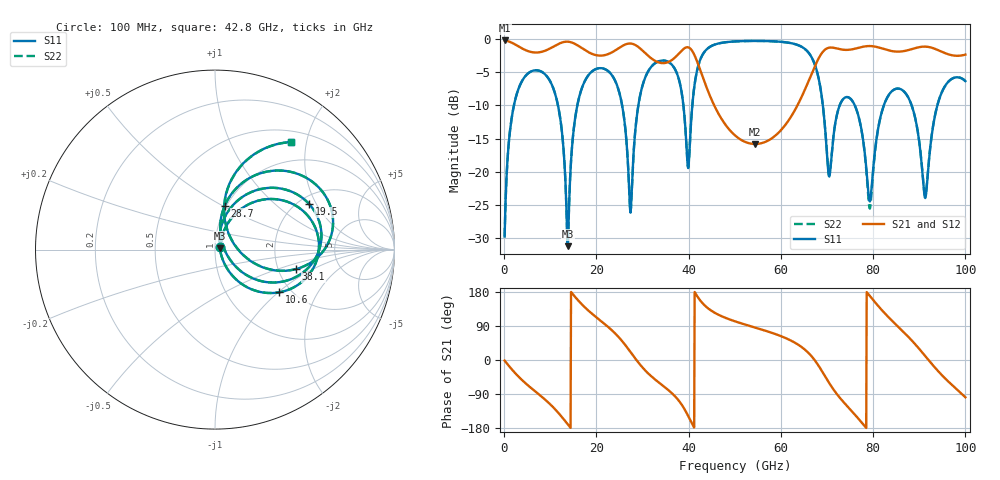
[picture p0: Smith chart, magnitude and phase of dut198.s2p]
! Touchstone file exported from HFSS 2026.1.0
!  File:  C:/ffzhzh/LocalFiles/Ansys_Project_Files/temp_train_TSV_RDL_198_1783657863_29156.aedt
!  Generated:  12:42:32 PM Jul 10, 2026
!  Design:  TSV_RDL
!  Project:  temp_train_TSV_RDL_198_1783657863_29156
! Variables:
!  h_bsmrdl = 2.86um
!  h_ox = 20um
!  h_rdl = 5um
!  h_sub = 87.6um
!  h_tmrdl = 3.07um
!  h_tsv = 87.6um
!  h_via = 3um
!  l_bsmrdl = 172.77um
!  l_sub = 3809.41um
!  l_tmrdl = 695.97um
!  m_sub = 200um
!  pitch = 52.04um
!  r_tsv = 12.74um
!  s_tmrdl = 10um
!  w_bsmrdl = 22.68um
!  w_sub = 500um
!  w_tmrdl = 13.06um
!  x_tsv_center1 = 702.5um
!  x_tsv_center2 = 897.95um
!  x_tsv_center3 = 1606.98um
!  x_tsv_center4 = 1802.43um
!  x_tsv_center5 = 2511.46um
!  x_tsv_center6 = 2706.91um
# GHz S MA R 50.000000
! Terminal data exported
! Port[1] = TM_RDL1_1_T1
! Port[2] = TM_RDL5_1_T1
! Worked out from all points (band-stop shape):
!   1000 points, 100 MHz to 100 GHz, reference 50 ohm
!   highest |S21| = -0.25 dB at 100 MHz (marker M1); lowest = -15.8 dB at 54.4 GHz (marker M2)
!   |S21| within 3 dB of the highest: start of sweep to 32.56 GHz; 67.95 GHz to end of sweep (the widest 2 of 3)
!   lowest |S11| = -31.2 dB at 13.8 GHz (marker M3), VSWR 1.06, Z = 52.7 + j0.787 ohm
!   |S11| at or under -10 dB: 11.67 GHz to 15.87 GHz (4.2 GHz wide, 30.5 % of centre); 76.02 GHz to 82.32 GHz (6.298 GHz wide, 7.95 % of centre); 88.34 GHz to 93.93 GHz (5.583 GHz wide, 6.13 % of centre) (the widest 3 of 7)
!   |S22| runs from -31.1 to -0.3 dB; largest |S21 - S12| = 5.1e-14
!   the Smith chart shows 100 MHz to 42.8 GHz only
!   S11 on the Smith chart (normalised r, x): 100 MHz: 1.06, +0.03; 10.6 GHz: 1.74, -1.01; 19.5 GHz: 2.29, +1.75; 28.7 GHz: 0.98, +0.51; 38.1 GHz: 2.50, -0.69; 42.8 GHz: 0.67, +1.74
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0.1  0.0326 30.3  0.9722 -1.6  0.9722 -1.6  0.0326 30.3
! Gamma 0 0 0 0
! Port Impedance 50 0 50 0
3.2  0.4287 41.1  0.8735 -44.9  0.8735 -44.9  0.4287 41.1
10.6  0.4297 -33.7  0.8706 -124.3  0.8706 -124.3  0.4297 -33.6
13.8  0.0276 15.7  0.9516 -169.8  0.9516 -169.8  0.02787 15.7
16.8  0.4208 53.2  0.8535 147.4  0.8535 147.4  0.4209 53.2
19.5  0.5835 25.6  0.7607 117.5  0.7607 117.5  0.5835 25.6
24.8  0.4134 -25.7  0.8489 60.8  0.8489 60.8  0.4134 -25.6
27.3  0.05226 1.6  0.9221 22.7  0.9221 22.7  0.05261 1.8
28.7  0.2508 77.5  0.8878 -0.4  0.8878 -0.4  0.251 77.4
33.4  0.6758 30.2  0.6663 -58.1  0.6663 -58.1  0.6758 30.2
38.1  0.4632 -13.6  0.7891 -111.0  0.7891 -111.0  0.4633 -13.5
39.9  0.1067 30.3  0.8634 -147.7  0.8634 -147.7  0.1079 30.4
42.8  0.7348 54.7  0.5465 152.8  0.5465 152.8  0.735 54.6
50.1  0.9562 9.8  0.1873 101.8  0.1873 101.8  0.9563 9.7
54.4  0.9643 -4.8  0.1619 85.6  0.1619 85.6  0.9643 -4.9
66.7  0.7221 -72.6  0.5501 9.2  0.5501 9.2  0.7224 -72.7
70.4  0.09307 -62.0  0.857 -59.4  0.857 -59.4  0.09502 -62.2
72.6  0.3061 -14.5  0.8384 -97.0  0.8384 -97.0  0.3062 -15.2
79.3  0.05989 -8.8  0.8827 168.8  0.8827 168.8  0.05294 -8.4
83.4  0.3792 17.2  0.8178 112.1  0.8178 112.1  0.3785 18.1
91.7  0.08274 43.1  0.8718 4.5  0.8718 4.5  0.08506 42.3
100  0.4806 -5.3  0.7606 -98.4  0.7606 -98.4  0.4809 -5.4
